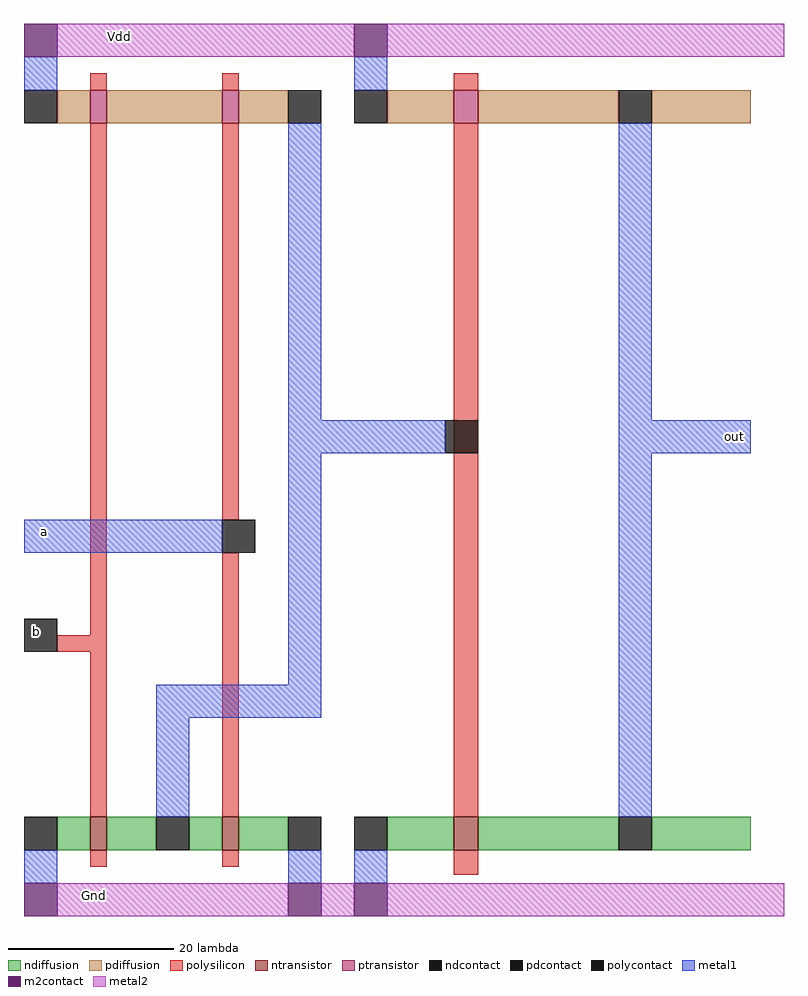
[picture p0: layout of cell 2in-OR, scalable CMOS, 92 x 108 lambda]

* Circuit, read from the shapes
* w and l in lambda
.subckt 2in-OR Gnd Vdd a b out
M1 n1 b Gnd VSUBS nfet w=4 l=2
M2 Gnd a n1 VSUBS nfet w=4 l=2
M3 out n1 Gnd VSUBS nfet w=4 l=3
M4 n2 b Vdd NWELL pfet w=4 l=2
M5 n1 a n2 NWELL pfet w=4 l=2
M6 out n1 Vdd NWELL pfet w=4 l=3
.ends

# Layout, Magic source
magic
tech scmos
<< polysilicon >>
rect 8 100 10 102
rect 24 100 26 102
rect 8 34 10 96
rect 4 32 10 34
rect 8 12 10 32
rect 24 48 26 96
rect 24 12 26 44
rect 8 6 10 8
rect 24 6 26 8
<< ndiffusion >>
rect 4 8 8 12
rect 10 8 16 12
rect 20 8 24 12
rect 26 8 32 12
<< pdiffusion >>
rect 4 96 8 100
rect 10 96 24 100
rect 26 96 32 100
<< metal1 >>
rect 0 100 4 104
rect 32 60 36 96
rect 32 56 51 60
rect 72 56 88 60
rect 0 44 24 48
rect 32 28 36 56
rect 16 24 36 28
rect 16 12 20 24
rect 0 4 4 8
rect 32 4 36 8
<< metal2 >>
rect 4 104 36 108
rect 4 0 32 4
<< ntransistor >>
rect 8 8 10 12
rect 24 8 26 12
<< ptransistor >>
rect 8 96 10 100
rect 24 96 26 100
<< polycontact >>
rect 0 32 4 36
rect 51 56 55 60
rect 24 44 28 48
<< ndcontact >>
rect 0 8 4 12
rect 16 8 20 12
rect 32 8 36 12
<< pdcontact >>
rect 0 96 4 100
rect 32 96 36 100
<< m2contact >>
rect 0 104 4 108
rect 0 0 4 4
rect 32 0 36 4
use inverter  inverter_0
transform 1 0 36 0 1 0
box 0 0 56 108
<< labels >>
rlabel metal1 2 46 3 47 3 a
rlabel polycontact 1 34 2 35 3 b
rlabel metal2 8 2 9 3 1 Gnd
rlabel metal2 11 106 12 107 5 Vdd
rlabel metal1 86 58 86 58 1 out
<< end >>

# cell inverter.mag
magic
tech scmos
<< polysilicon >>
rect 16 100 19 102
rect 16 12 19 96
rect 16 5 19 8
<< ndiffusion >>
rect 8 8 16 12
rect 19 8 36 12
rect 40 8 52 12
<< pdiffusion >>
rect 8 96 16 100
rect 19 96 36 100
rect 40 96 52 100
<< metal1 >>
rect 4 100 8 104
rect 36 12 40 96
rect 4 4 8 8
<< metal2 >>
rect 0 104 4 108
rect 8 104 56 108
rect 0 0 4 4
rect 8 0 56 4
<< ntransistor >>
rect 16 8 19 12
<< ptransistor >>
rect 16 96 19 100
<< ndcontact >>
rect 4 8 8 12
rect 36 8 40 12
<< pdcontact >>
rect 4 96 8 100
rect 36 96 40 100
<< m2contact >>
rect 4 104 8 108
rect 4 0 8 4
<< end >>
